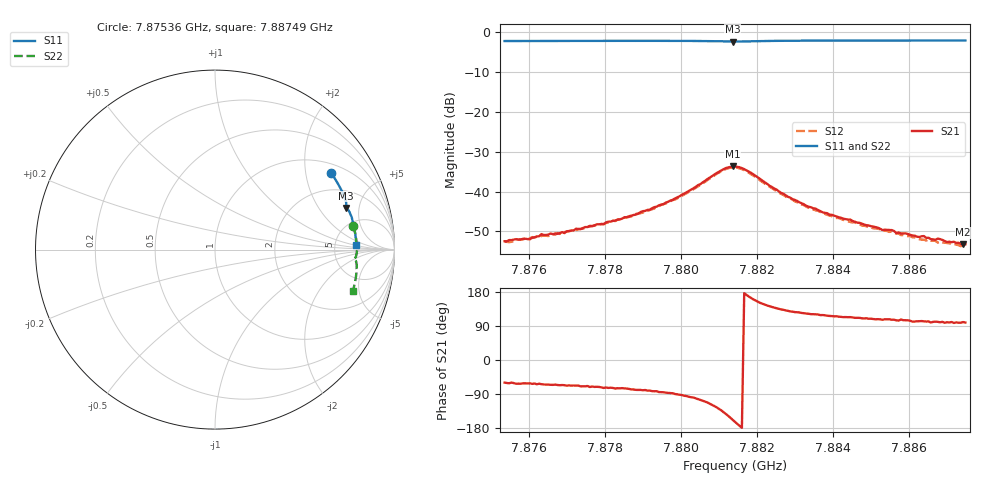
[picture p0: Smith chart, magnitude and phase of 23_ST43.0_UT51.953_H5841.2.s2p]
#  HZ  S  DB  R  50.00
! Rohde & Schwarz Vector Network Analyzer
! Rohde-Schwarz,ZNB20-2Port,1311601062101988,3.16
! Created: UTC 1/12/2023, 6:30:48 PM
! freq[Hz]  db:S11  ang:S11  db:S21  ang:S21  db:S12  ang:S12  db:S22  ang:S22
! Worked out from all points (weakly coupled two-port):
!   201 points, 7.87536 GHz to 7.88749 GHz, reference 50 ohm
!   highest |S21| = -33.70 dB at 7.88136 GHz (marker M1); lowest = -53.3 dB at 7.88743 GHz (marker M2)
!   lowest |S11| = -2.3 dB at 7.88136 GHz (marker M3), VSWR 7.45, Z = 163 + j181 ohm
!   |S11| at or under -10 dB: nowhere
!   |S22| runs from -2.2 to -1.9 dB; largest |S21 - S12| = 0.0014
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7.875357e9  -2.22 33.6  -52.48 -59.6  -52.63 -63.0  -2.13 9.7
7.876024e9  -2.21 31.8  -51.98 -61.5  -51.76 -66.4  -2.11 8.1
7.876327e9  -2.20 30.9  -50.69 -63.9  -51.16 -66.5  -2.10 7.4
7.876934e9  -2.19 29.3  -50.45 -66.6  -50.17 -69.1  -2.08 6.0
7.877419e9  -2.19 28.0  -49.18 -69.4  -49.31 -73.4  -2.06 4.9
7.877965e9  -2.18 26.5  -48.23 -73.8  -48.14 -75.3  -2.06 3.7
7.879421e9  -2.17 22.4  -43.45 -84.6  -43.65 -86.8  -2.04 0.2
7.880088e9  -2.19 20.5  -40.52 -94.4  -40.75 -96.9  -2.05 -1.4
7.881119e9  -2.32 17.9  -34.41 -137.7  -34.57 -140.9  -2.18 -3.7
7.881362e9  -2.35 17.7  -33.70 -158.1  -33.95 -161.2  -2.21 -3.8
7.881422e9  -2.34 17.7  -33.73 -163.2  -33.97 -166.9  -2.21 -3.8
7.881725e9  -2.30 17.4  -34.70 171.7  -34.93 168.3  -2.16 -3.9
7.882817e9  -2.15 14.5  -41.33 129.8  -41.62 127.0  -2.00 -6.2
7.883484e9  -2.13 12.7  -44.21 120.9  -44.50 116.9  -1.96 -7.8
7.88403e9  -2.11 11.2  -46.05 115.2  -46.50 112.3  -1.96 -9.1
7.885304e9  -2.09 7.8  -49.67 106.1  -49.64 103.4  -1.93 -11.9
7.885486e9  -2.09 7.3  -49.70 107.5  -50.15 102.6  -1.93 -12.3
7.885668e9  -2.09 6.8  -50.43 104.7  -50.56 102.8  -1.93 -12.7
7.886396e9  -2.09 4.9  -51.19 101.9  -52.11 100.0  -1.93 -14.3
7.886456e9  -2.08 4.7  -51.65 101.5  -52.30 98.7  -1.92 -14.4
7.887427e9  -2.07 2.2  -53.28 100.1  -53.52 96.1  -1.92 -16.5
7.887488e9  -2.08 2.0  -53.24 98.9  -53.57 93.9  -1.92 -16.7
